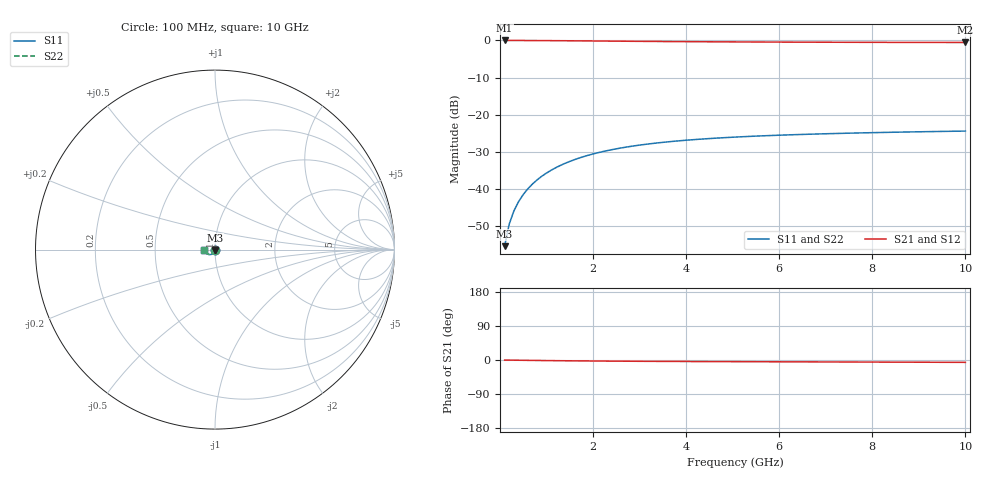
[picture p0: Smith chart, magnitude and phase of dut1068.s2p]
! Touchstone file exported from HFSS 2024.1.0
!  File:  C:/UserFiles/LocalFiles/RDL_TSV_Batchsim/temp_TSV1_1068_1780064214.aedt
!  Generated:  10:21:21 PM May 29, 2026
!  Design:  TSV1
!  Project:  temp_TSV1_1068_1780064214
!  Setup:  Setup1
!  Solution:  Sweep
! Variables:
!  dtsv = 11.28um
!  hbump = 3um
!  htsv = 98.9um
!  lrdl = 252.1521522um
!  p = 40
!  p1 = 51.41um
!  t = 500um
!  trdl = 3um
!  wrdl = 24.89489489um
# GHz S MA R 50.000000
! Terminal data exported
! Port[1] = TSV22_T1
! Port[2] = TSV22_T2
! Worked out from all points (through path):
!   100 points, 100 MHz to 10 GHz, reference 50 ohm
!   highest |S21| = 0.00 dB at 100 MHz (marker M1); lowest = -0.6 dB at 10 GHz (marker M2)
!   lowest |S11| = -55.4 dB at 100 MHz (marker M3), VSWR 1.00, Z = 50 - j0.169 ohm
!   |S11| at or under -10 dB: start of sweep to end of sweep
!   |S22| runs from -55.4 to -24.4 dB; largest |S21 - S12| = 4.2e-15
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0.1  0.00169 -87.3  0.9998 -0.2  0.9998 -0.2  0.00169 -87.3
! Gamma 0 0 0 0
! Port Impedance 50 0 50 0
0.2  0.003373 -91.2  0.9996 -0.3  0.9996 -0.3  0.003373 -91.2
0.3  0.005054 -93.7  0.9994 -0.5  0.9994 -0.5  0.005054 -93.7
0.4  0.006728 -95.8  0.999 -0.6  0.999 -0.6  0.006728 -95.8
0.5  0.00839 -97.8  0.9985 -0.8  0.9985 -0.8  0.00839 -97.8
0.6  0.01003 -99.7  0.9979 -0.9  0.9979 -0.9  0.01003 -99.7
0.7  0.01165 -101.5  0.9973 -1.1  0.9973 -1.1  0.01165 -101.5
0.8  0.01325 -103.3  0.9966 -1.2  0.9966 -1.2  0.01325 -103.3
0.9  0.01481 -105.1  0.9958 -1.4  0.9958 -1.4  0.01481 -105.1
1.1  0.01784 -108.6  0.994 -1.6  0.994 -1.6  0.01784 -108.6
1.4  0.02211 -113.5  0.9909 -2.0  0.9909 -2.0  0.02211 -113.5
1.6  0.02476 -116.7  0.9887 -2.2  0.9887 -2.2  0.02476 -116.7
1.8  0.02724 -119.6  0.9864 -2.4  0.9864 -2.4  0.02724 -119.6
2.1  0.03065 -123.9  0.9829 -2.7  0.9829 -2.7  0.03065 -123.9
2.5  0.03466 -129.1  0.9782 -3.1  0.9782 -3.1  0.03466 -129.1
2.9  0.0381 -133.8  0.9738 -3.3  0.9738 -3.3  0.0381 -133.8
3.4  0.04172 -139.0  0.9687 -3.6  0.9687 -3.6  0.04172 -139.0
4.2  0.04626 -146.2  0.9617 -4.0  0.9617 -4.0  0.04626 -146.2
5.1  0.05004 -153.0  0.9555 -4.4  0.9555 -4.4  0.05004 -153.0
6.7  0.05464 -162.6  0.9475 -5.0  0.9475 -5.0  0.05464 -162.6
8.4  0.05787 -170.5  0.942 -5.6  0.942 -5.6  0.05787 -170.5
10  0.0601 -176.8  0.9385 -6.2  0.9385 -6.2  0.0601 -176.8
